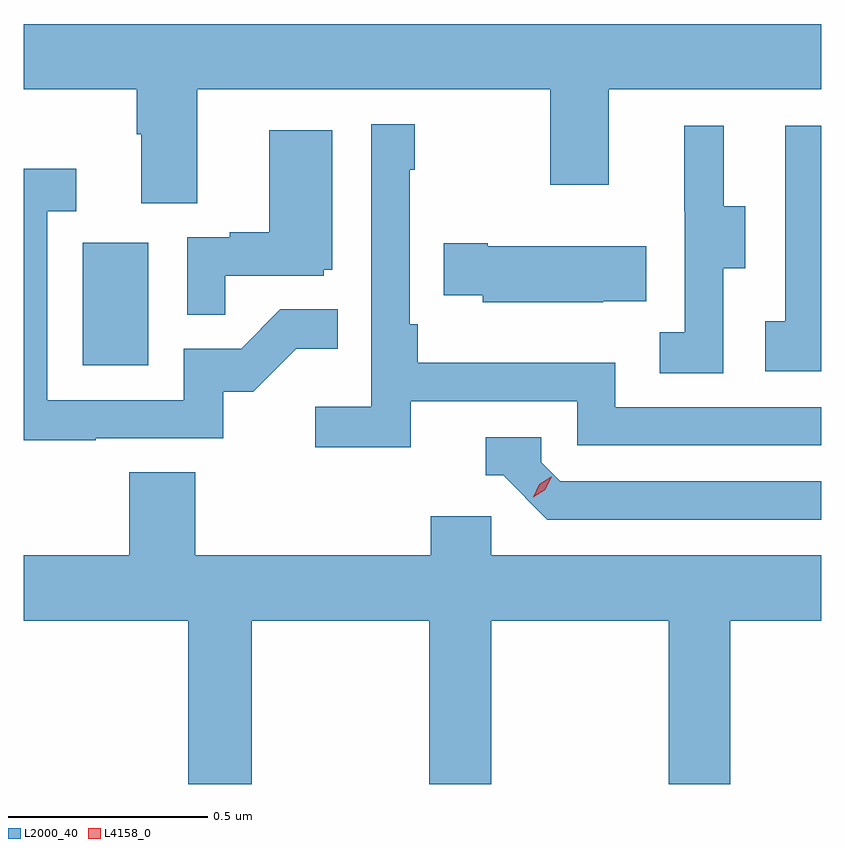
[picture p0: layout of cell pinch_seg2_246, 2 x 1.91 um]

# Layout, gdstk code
import gdstk
lib = gdstk.Library(unit=1e-6, precision=1e-09)
def R(c, l, rs):  # rectangles x0, y0, x1, y1
    for r in rs: c.add(gdstk.rectangle(r[:2], r[2:], *l))
def P(c, l, *ps):  # polygons
    for p in ps: c.add(gdstk.Polygon(p, *l))
L2000_40 = (2000, 40)
L4158_0 = (4158, 0)

pinch_seg2_246 = lib.new_cell('pinch_seg2_246')
R(pinch_seg2_246, L2000_40, [(920.786,650.94,920.95,651.247)])
P(pinch_seg2_246, L2000_40, [(921.073,651.632),(921.958,651.632),(921.958,651.393),(922.105,651.393),(922.105,651.632),(922.638,651.632),(922.638,651.796),(920.638,651.796),(920.638,651.632),(920.921,651.632),(920.921,651.52),(920.933,651.52),(920.933,651.346),(921.073,651.346)],
  [(921.608,650.85),(922.026,650.85),(922.026,650.739),(922.638,650.739),(922.638,650.835),(922.122,650.835),(922.122,650.947),(921.626,650.947),(921.626,651.043),(921.606,651.043),(921.606,651.431),(921.619,651.431),(921.619,651.544),(921.51,651.544),(921.51,650.836),(921.369,650.836),(921.369,650.734),(921.608,650.734)],
  [(922.392,651.184),(922.447,651.184),(922.447,651.339),(922.393,651.339),(922.393,651.541),(922.295,651.541),(922.295,651.327),(922.296,651.327),(922.296,651.023),(922.233,651.023),(922.233,650.92),(922.392,650.92)],
  [(922.638,651.541),(922.548,651.541),(922.548,651.05),(922.497,651.05),(922.497,650.925),(922.638,650.925)],
  [(921.143,651.165),(921.39,651.165),(921.39,651.18),(921.412,651.18),(921.412,651.529),(921.254,651.529),(921.254,651.274),(921.155,651.274),(921.155,651.261),(921.048,651.261),(921.048,651.067),(921.143,651.067)],
  [(920.819,650.757),(921.138,650.757),(921.138,650.874),(921.214,650.874),(921.321,650.981),(921.425,650.981),(921.425,651.08),(921.281,651.08),(921.183,650.982),(921.039,650.982),(921.039,650.853),(920.697,650.853),(920.697,651.327),(920.77,651.327),(920.77,651.433),(920.638,651.433),(920.638,650.752),(920.819,650.752)],
  [(922.091,651.101),(922.199,651.101),(922.199,651.238),(921.802,651.238),(921.802,651.246),(921.691,651.246),(921.691,651.116),(921.789,651.116),(921.789,651.098),(922.091,651.098)],
  [(922.638,650.649),(921.984,650.649),(921.936,650.697),(921.936,650.76),(921.797,650.76),(921.797,650.664),(921.84,650.664),(921.951,650.553),(922.638,650.553)],
  [(921.21,650.3),(921.655,650.3),(921.655,649.89),(921.81,649.89),(921.81,650.3),(922.255,650.3),(922.255,649.89),(922.41,649.89),(922.41,650.3),(922.638,650.3),(922.638,650.464),(921.81,650.464),(921.81,650.562),(921.659,650.562),(921.659,650.464),(921.068,650.464),(921.068,650.672),(920.903,650.672),(920.903,650.464),(920.638,650.464),(920.638,650.3),(921.05,650.3),(921.05,649.89),(921.21,649.89)])
P(pinch_seg2_246, L4158_0, [(921.916,650.609),(921.916,650.609),(921.931,650.642),(921.961,650.661),(921.962,650.661),(921.962,650.661),(921.946,650.628),(921.916,650.609)])

lib.write_gds('pinch_seg2_246.gds')
